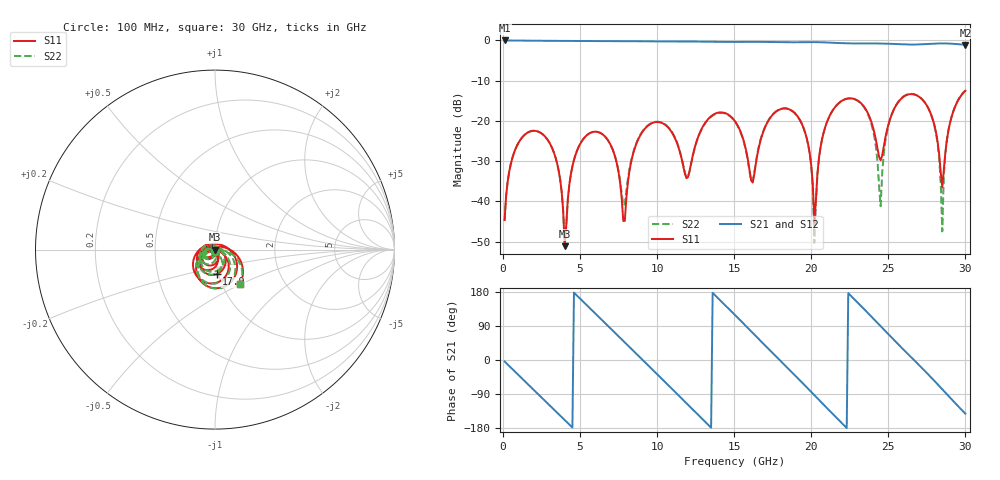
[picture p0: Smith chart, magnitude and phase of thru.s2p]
! Created Sat Feb 15 09:35:28 2025
! List of port names and net name(s): example Port n = <port_name> <net_name1> <net_name2> ...
! Port 1 = P1 P1
! Port 2 = P2 P1
# hz S ma R 50
! 2 Port Network Data from data block
! freq  magS11  angS11  magS21  angS21  magS12  angS12  magS22  angS22
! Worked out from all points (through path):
!   300 points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, 100 MHz to 30 GHz, reference 50 ohm
!   highest |S21| = -0.01 dB at 100 MHz (marker M1); lowest = -1.1 dB at 30 GHz (marker M2)
!   group delay of S21, straight-line fit = 113 ps
!   lowest |S11| = -51.1 dB at 4 GHz (marker M3), VSWR 1.01, Z = 49.7 + j0.0475 ohm
!   |S11| at or under -10 dB: start of sweep to end of sweep
!   |S22| runs from -51.0 to -12.4 dB; largest |S21 - S12| = 0
!   S11 on the Smith chart (normalised r, x): 100 MHz: 1.00, -0.01; 17.9 GHz: 0.98, -0.27; 30 GHz: 1.22, -0.49
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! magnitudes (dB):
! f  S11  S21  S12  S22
! 100 MHz  -44.6  0.0  0.0  -44.6
! 2.3 GHz  -22.7  -0.1  -0.1  -22.7
! 3.5 GHz  -30.4  -0.1  -0.1  -30.4
! 4 GHz  -51.1  -0.1  -0.1  -51.0
! 5.1 GHz  -25.1  -0.1  -0.1  -25.1
! 6.9 GHz  -25.4  -0.2  -0.2  -25.4
! 7.9 GHz  -44.8  -0.2  -0.2  -40.5
! 10.1 GHz  -20.3  -0.3  -0.3  -20.2
! 11.9 GHz  -34.2  -0.3  -0.3  -34.0
! 15.1 GHz  -20.3  -0.4  -0.4  -20.5
! 16.2 GHz  -35.3  -0.3  -0.3  -35.0
! 17.9 GHz  -17.2  -0.5  -0.5  -17.2
! 20.1 GHz  -35.9  -0.4  -0.4  -36.3
! 20.2 GHz  -45.1  -0.4  -0.4  -50.3
! 20.8 GHz  -22.9  -0.5  -0.5  -22.9
! 22.7 GHz  -14.4  -0.7  -0.7  -14.5
! 24.5 GHz  -29.8  -0.8  -0.8  -41.2
! 25.1 GHz  -19.7  -0.8  -0.8  -19.8
! 27.6 GHz  -16.9  -0.9  -0.9  -16.9
! 28.5 GHz  -36.5  -0.7  -0.7  -47.4
! 28.9 GHz  -22.4  -0.8  -0.8  -22.3
! 30 GHz  -12.5  -1.1  -1.1  -12.4
